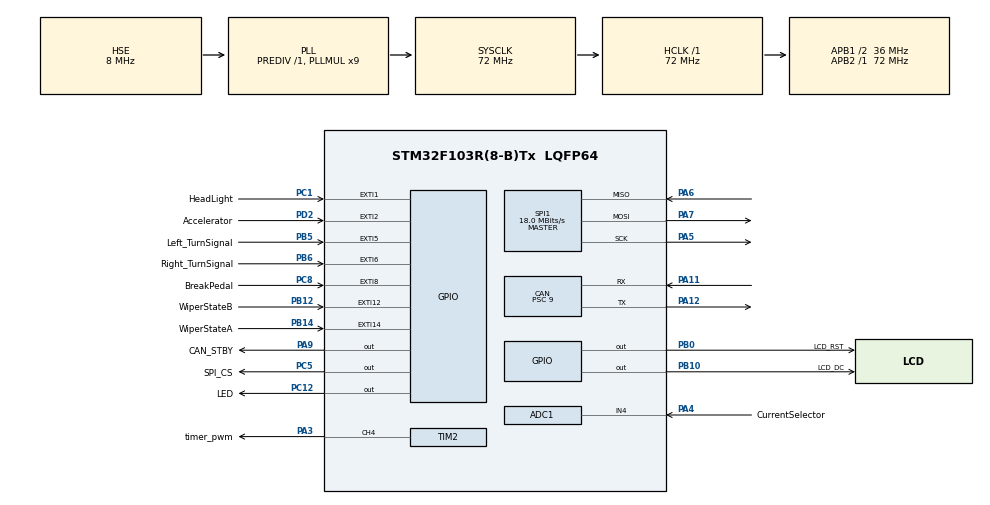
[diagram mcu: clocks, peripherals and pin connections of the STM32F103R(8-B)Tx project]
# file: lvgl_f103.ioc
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ADC1.Channel-0\#ChannelRegularConversion=ADC_CHANNEL_4
ADC1.NbrOfConversion=1
ADC1.NbrOfConversionFlag=1
ADC1.Rank-0\#ChannelRegularConversion=1
ADC1.SamplingTime-0\#ChannelRegularConversion=ADC_SAMPLETIME_1CYCLE_5
ADC1.master=1
CAN.BS1=CAN_BS1_13TQ
CAN.BS2=CAN_BS2_2TQ
CAN.CalculateBaudRate=250000
CAN.CalculateTimeBit=4000
CAN.CalculateTimeQuantum=250.0
CAN.Prescaler=9
Dma.ADC1.1.Direction=DMA_PERIPH_TO_MEMORY
Dma.ADC1.1.Instance=DMA1_Channel1
Dma.ADC1.1.MemDataAlignment=DMA_MDATAALIGN_HALFWORD
Dma.ADC1.1.MemInc=DMA_MINC_ENABLE
Dma.ADC1.1.Mode=DMA_NORMAL
Dma.ADC1.1.PeriphDataAlignment=DMA_PDATAALIGN_HALFWORD
Dma.ADC1.1.PeriphInc=DMA_PINC_DISABLE
Dma.ADC1.1.Priority=DMA_PRIORITY_LOW
Dma.MEMTOMEM.2.Direction=DMA_MEMORY_TO_MEMORY
Dma.MEMTOMEM.2.Instance=DMA1_Channel2
Dma.MEMTOMEM.2.MemDataAlignment=DMA_MDATAALIGN_HALFWORD
Dma.MEMTOMEM.2.MemInc=DMA_MINC_DISABLE
Dma.MEMTOMEM.2.Mode=DMA_NORMAL
Dma.MEMTOMEM.2.PeriphDataAlignment=DMA_PDATAALIGN_HALFWORD
Dma.MEMTOMEM.2.PeriphInc=DMA_PINC_DISABLE
Dma.MEMTOMEM.2.Priority=DMA_PRIORITY_LOW
Dma.Request0=SPI1_TX
Dma.Request1=ADC1
Dma.Request2=MEMTOMEM
Dma.SPI1_TX.0.Direction=DMA_MEMORY_TO_PERIPH
Dma.SPI1_TX.0.Instance=DMA1_Channel3
Dma.SPI1_TX.0.MemDataAlignment=DMA_MDATAALIGN_BYTE
Dma.SPI1_TX.0.MemInc=DMA_MINC_ENABLE
Dma.SPI1_TX.0.Mode=DMA_NORMAL
Dma.SPI1_TX.0.PeriphDataAlignment=DMA_PDATAALIGN_BYTE
Dma.SPI1_TX.0.PeriphInc=DMA_PINC_DISABLE
Dma.SPI1_TX.0.Priority=DMA_PRIORITY_LOW
Mcu.Family=STM32F1
Mcu.Name=STM32F103R(8-B)Tx
Mcu.Package=LQFP64
NVIC.ADC1_2_IRQn=true\:0\:0\:false\:false\:true\:true\:true\:true
NVIC.CAN1_RX1_IRQn=true\:3\:0\:true\:false\:true\:true\:true\:true
NVIC.DMA1_Channel1_IRQn=true\:0\:0\:false\:false\:true\:false\:true\:true
NVIC.DMA1_Channel2_IRQn=true\:0\:0\:false\:false\:true\:true\:true\:true
NVIC.DMA1_Channel3_IRQn=true\:0\:0\:false\:false\:true\:false\:true\:true
NVIC.EXTI15_10_IRQn=true\:0\:0\:true\:false\:true\:true\:true\:true
NVIC.EXTI1_IRQn=true\:1\:0\:true\:false\:true\:true\:true\:true
NVIC.EXTI2_IRQn=true\:4\:0\:true\:false\:true\:true\:true\:true
NVIC.EXTI9_5_IRQn=true\:1\:0\:true\:false\:true\:true\:true\:true
NVIC.PriorityGroup=NVIC_PRIORITYGROUP_4
NVIC.TIM1_UP_IRQn=true\:0\:0\:false\:false\:true\:true\:true\:true
NVIC.TIM2_IRQn=true\:0\:0\:false\:false\:true\:true\:true\:true
NVIC.TIM3_IRQn=true\:0\:0\:false\:false\:true\:true\:true\:true
NVIC.TIM4_IRQn=true\:0\:0\:false\:false\:true\:true\:true\:true
NVIC.USB_LP_CAN1_RX0_IRQn=true\:0\:0\:false\:false\:true\:true\:true\:true
PA11.Mode=CAN_Activate
PA11.Signal=CAN_RX
PA12.Mode=CAN_Activate
PA12.Signal=CAN_TX
PA13.Mode=Serial_Wire
PA13.Signal=SYS_JTMS-SWDIO
PA14.Mode=Serial_Wire
PA14.Signal=SYS_JTCK-SWCLK
PA3.GPIO_Label=timer_pwm
PA3.Signal=S_TIM2_CH4
PA4.GPIO_Label=CurrentSelector
PA4.Signal=SharedAnalog_PA4
PA5.Mode=Full_Duplex_Master
PA5.Signal=SPI1_SCK
PA6.Mode=Full_Duplex_Master
PA6.Signal=SPI1_MISO
PA7.Mode=Full_Duplex_Master
PA7.Signal=SPI1_MOSI
PA9.GPIO_Label=CAN_STBY
PA9.Signal=GPIO_Output
PB0.GPIO_Label=LCD_RST
PB0.Signal=GPIO_Output
PB10.GPIO_Label=LCD_DC
PB10.Signal=GPIO_Output
PB12.GPIO_Label=WiperStateB
PB12.GPIO_ModeDefaultEXTI=GPIO_MODE_IT_RISING_FALLING
PB12.GPIO_PuPd=GPIO_PULLUP
PB12.Signal=GPXTI12
PB14.GPIO_Label=WiperStateA
PB14.GPIO_ModeDefaultEXTI=GPIO_MODE_IT_RISING_FALLING
PB14.GPIO_PuPd=GPIO_PULLUP
PB14.Signal=GPXTI14
PB5.GPIO_Label=Left_TurnSignal
PB5.GPIO_ModeDefaultEXTI=GPIO_MODE_IT_RISING_FALLING
PB5.GPIO_PuPd=GPIO_PULLUP
PB5.Signal=GPXTI5
PB6.GPIO_Label=Right_TurnSignal
PB6.GPIO_ModeDefaultEXTI=GPIO_MODE_IT_RISING_FALLING
PB6.GPIO_PuPd=GPIO_PULLUP
PB6.Signal=GPXTI6
PC1.GPIO_Label=HeadLight
PC1.GPIO_ModeDefaultEXTI=GPIO_MODE_IT_RISING_FALLING
PC1.GPIO_PuPd=GPIO_PULLUP
PC1.Signal=GPXTI1
PC12.GPIO_Label=LED
PC12.Signal=GPIO_Output
PC5.GPIO_Label=SPI_CS
PC5.Signal=GPIO_Output
PC8.GPIO_Label=BreakPedal
PC8.GPIO_ModeDefaultEXTI=GPIO_MODE_IT_RISING_FALLING
PC8.GPIO_PuPd=GPIO_PULLUP
PC8.Signal=GPXTI8
PD0-OSC_IN.Mode=HSE-External-Oscillator
PD0-OSC_IN.Signal=RCC_OSC_IN
PD1-OSC_OUT.Mode=HSE-External-Oscillator
PD1-OSC_OUT.Signal=RCC_OSC_OUT
PD2.GPIO_Label=Accelerator
PD2.GPIO_ModeDefaultEXTI=GPIO_MODE_IT_RISING_FALLING
PD2.GPIO_PuPd=GPIO_PULLUP
PD2.Signal=GPXTI2
ProjectManager.HeapSize=0x200
ProjectManager.StackSize=0x400
ProjectManager.TargetToolchain=STM32CubeIDE
RCC.ADCPresc=RCC_ADCPCLK2_DIV8
RCC.AHBFreq_Value=72000000
RCC.APB1CLKDivider=RCC_HCLK_DIV2
RCC.APB1Freq_Value=36000000
RCC.APB1TimFreq_Value=72000000
RCC.APB2Freq_Value=72000000
RCC.APB2TimFreq_Value=72000000
RCC.HCLKFreq_Value=72000000
RCC.PLLMUL=RCC_PLL_MUL9
RCC.PLLSourceVirtual=RCC_PLLSOURCE_HSE
RCC.SYSCLKFreq_VALUE=72000000
RCC.SYSCLKSource=RCC_SYSCLKSOURCE_PLLCLK
RCC.USBFreq_Value=72000000
SH.S_TIM2_CH4.0=TIM2_CH4,PWM Generation4 CH4
SH.SharedAnalog_PA4.0=GPIO_Analog
SH.SharedAnalog_PA4.1=ADC1_IN4,IN4
SPI1.BaudRatePrescaler=SPI_BAUDRATEPRESCALER_4
SPI1.CalculateBaudRate=18.0 MBits/s
SPI1.Direction=SPI_DIRECTION_2LINES
SPI1.Mode=SPI_MODE_MASTER
SPI1.VirtualType=VM_MASTER
TIM1.Period=10000-1
TIM1.Prescaler=720-1
TIM2.Channel-PWM\ Generation4\ CH4=TIM_CHANNEL_4
TIM2.OC4Preload_PWM=DISABLE
TIM2.Period=2000-1
TIM2.Prescaler=720-1
TIM3.Period=10000-1
TIM3.Prescaler=7200-1
TIM4.Period=1000-1
TIM4.Prescaler=7200-1
VP_TIM1_VS_ClockSourceINT.Mode=Internal
VP_TIM2_VS_ClockSourceINT.Mode=Internal
VP_TIM3_VS_ClockSourceINT.Mode=Internal
VP_TIM4_VS_ClockSourceINT.Mode=Internal
board=custom

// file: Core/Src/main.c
/* USER CODE BEGIN Header */
/**
 ******************************************************************************
 * @file           : main.c
 * @brief          : Main program body
 ******************************************************************************
 * @attention
 *
 * Copyright (c) 2022 STMicroelectronics.
 * All rights reserved.
 *
 * This software is licensed under terms that can be found in the LICENSE file
 * in the root directory of this software component.
 * If no LICENSE file comes with this software, it is provided AS-IS.
 *
 ******************************************************************************
 */
/* USER CODE END Header */
#include "main.h"
#include "adc.h"
#include "can.h"
#include "dma.h"
#include "spi.h"
#include "tim.h"
#include "gpio.h"

/* USER CODE BEGIN Includes */
#include "user_can.h"
#include "wiper.h"
#include "user_can_functs.h"

#include "string.h"
#include "stdlib.h"
#include "ili9341.h"
#include "ili9341_gfx.h"
#include "lvgl.h"
#include "LVGL_Interface.h"
#include "view.h"
/* USER CODE END Includes */

void SystemClock_Config(void);

int main(void)
{

  /* MCU Configuration--------------------------------------------------------*/

  /* Reset of all peripherals, Initializes the Flash interface and the Systick. */
  HAL_Init();

  /* Configure the system clock */
  SystemClock_Config();

  /* Initialize all configured peripherals */
  MX_GPIO_Init();
  MX_DMA_Init();
  MX_SPI1_Init();
  MX_CAN_Init();
  MX_ADC1_Init();
  MX_TIM1_Init();
  MX_TIM2_Init();
  MX_TIM3_Init();
  MX_TIM4_Init();
  /* USER CODE BEGIN 2 */

	lv_init();
	disp_driver_init();
	HAL_Delay(1000);
	view_init();

	CAN_receive_init();
	HAL_TIM_Base_Start_IT(&htim1);
	HAL_TIM_Base_Start_IT(&htim2);
	HAL_TIM_Base_Start_IT(&htim3);
	HAL_TIM_Base_Start_IT(&htim4);

  /* USER CODE END 2 */

  /* Infinite loop */
	while (1) {

    /* USER CODE BEGIN 3 */

		HAL_Delay(3);
		lv_task_handler();

	}
  /* USER CODE END 3 */
}

void SystemClock_Config(void)
{
  RCC_OscInitTypeDef RCC_OscInitStruct = {0};
  RCC_ClkInitTypeDef RCC_ClkInitStruct = {0};
  RCC_PeriphCLKInitTypeDef PeriphClkInit = {0};

  /** Initializes the RCC Oscillators according to the specified parameters
  * in the RCC_OscInitTypeDef structure.
  */
  RCC_OscInitStruct.OscillatorType = RCC_OSCILLATORTYPE_HSE;
  RCC_OscInitStruct.HSEState = RCC_HSE_ON;
  RCC_OscInitStruct.HSEPredivValue = RCC_HSE_PREDIV_DIV1;
  RCC_OscInitStruct.HSIState = RCC_HSI_ON;
  RCC_OscInitStruct.PLL.PLLState = RCC_PLL_ON;
  RCC_OscInitStruct.PLL.PLLSource = RCC_PLLSOURCE_HSE;
  RCC_OscInitStruct.PLL.PLLMUL = RCC_PLL_MUL9;
  if (HAL_RCC_OscConfig(&RCC_OscInitStruct) != HAL_OK)
  {
    Error_Handler();
  }
  /** Initializes the CPU, AHB and APB buses clocks
  */
  RCC_ClkInitStruct.ClockType = RCC_CLOCKTYPE_HCLK|RCC_CLOCKTYPE_SYSCLK
                              |RCC_CLOCKTYPE_PCLK1|RCC_CLOCKTYPE_PCLK2;
  RCC_ClkInitStruct.SYSCLKSource = RCC_SYSCLKSOURCE_PLLCLK;
  RCC_ClkInitStruct.AHBCLKDivider = RCC_SYSCLK_DIV1;
  RCC_ClkInitStruct.APB1CLKDivider = RCC_HCLK_DIV2;
  RCC_ClkInitStruct.APB2CLKDivider = RCC_HCLK_DIV1;

  if (HAL_RCC_ClockConfig(&RCC_ClkInitStruct, FLASH_LATENCY_2) != HAL_OK)
  {
    Error_Handler();
  }
  PeriphClkInit.PeriphClockSelection = RCC_PERIPHCLK_ADC;
  PeriphClkInit.AdcClockSelection = RCC_ADCPCLK2_DIV8;
  if (HAL_RCCEx_PeriphCLKConfig(&PeriphClkInit) != HAL_OK)
  {
    Error_Handler();
  }
}

void Error_Handler(void)
{
	__disable_irq();
	while (1) {
	}
}
